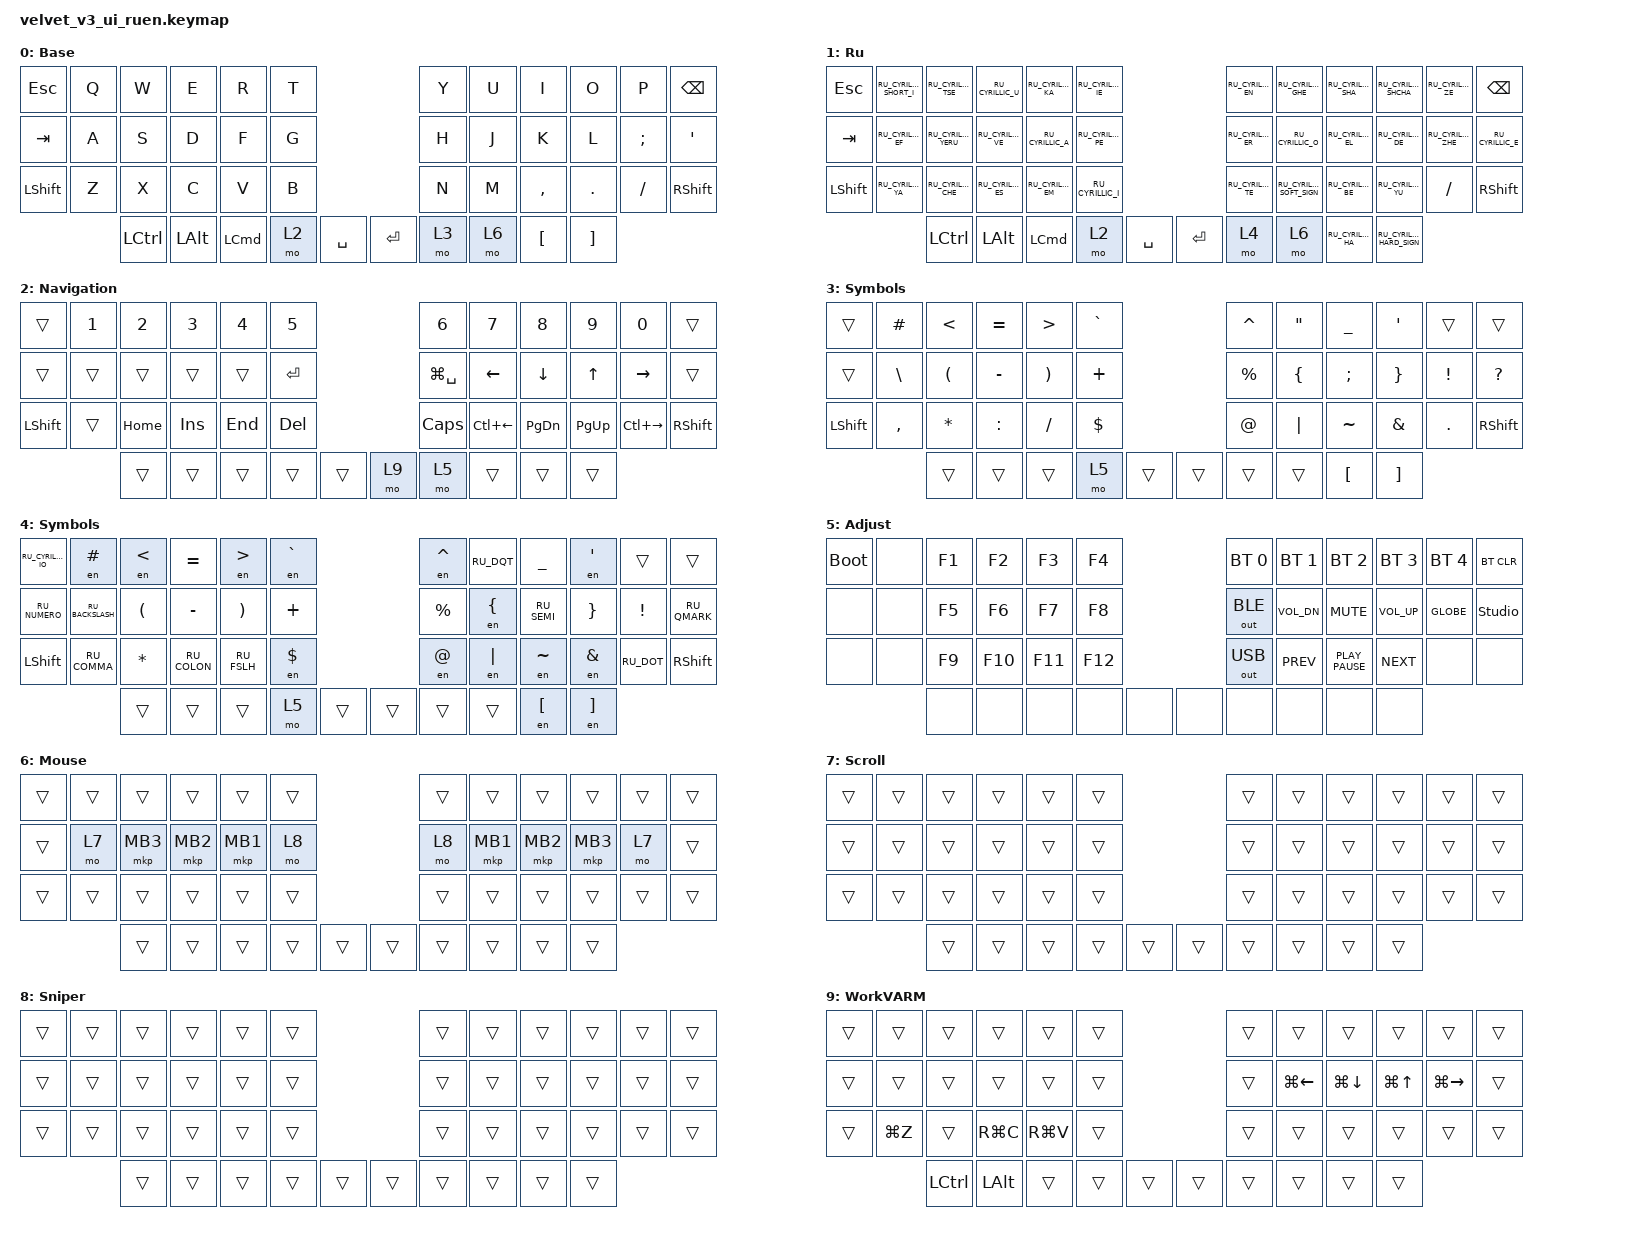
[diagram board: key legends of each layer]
#include "keys_ru.h"
#include <dt-bindings/zmk/input_transform.h>
#include <input/processors.dtsi>
#include <zephyr/dt-bindings/input/input-event-codes.h>
#include <behaviors.dtsi>
#include <dt-bindings/zmk/bt.h>
#include <dt-bindings/zmk/keys.h>
#include <dt-bindings/zmk/outputs.h>
#include <dt-bindings/zmk/pointing.h>

/ {
    behaviors {
        cap_sen: cap_sen {
            compatible = "zmk,behavior-hold-tap";
            label = "CAP_SEN";
            bindings = <&mo>, <&mkp>;

            #binding-cells = <2>;
            tapping-term-ms = <150>;
            hold-while-undecided;
        };
    };

    combos {
        compatible = "zmk,combos";

        cmben {
            bindings = <&layer_en>;
            key-positions = <3 4>;
            layers = <1>;
        };

        cmbru {
            bindings = <&layer_ru>;
            key-positions = <3 4>;
            layers = <0>;
        };
    };

    macros {
        to_ru: to_ru {
            compatible = "zmk,behavior-macro";
            #binding-cells = <0>;
            bindings = <&kp LS(LC(N2))>;
            label = "TO_RU";
            wait-ms = <0>;
            tap-ms = <30>;
        };

        to_en: to_en {
            compatible = "zmk,behavior-macro";
            #binding-cells = <0>;
            bindings = <&kp LS(LC(N1))>;
            label = "TO_EN";
            wait-ms = <0>;
            tap-ms = <30>;
        };

        layer_en: layer_en {
            compatible = "zmk,behavior-macro";
            #binding-cells = <0>;
            bindings = <&to 0 &to_en>;
            label = "LAYER_EN";
            wait-ms = <0>;
            tap-ms = <30>;
        };

        layer_ru: layer_ru {
            compatible = "zmk,behavior-macro";
            #binding-cells = <0>;
            bindings = <&to 1 &to_ru>;
            label = "LAYER_RU";
            tap-ms = <30>;
            wait-ms = <0>;
        };

        en: en {
            compatible = "zmk,behavior-macro-one-param";
            #binding-cells = <1>;
            bindings =
                <&to_en>,
                <&macro_press>,
                <&macro_param_1to1 &kp MACRO_PLACEHOLDER>,
                <&macro_pause_for_release>,
                <&macro_release>,
                <&macro_param_1to1 &kp MACRO_PLACEHOLDER>,
                <&macro_tap>,
                <&to_ru>;

            label = "EN";
            wait-ms = <0>;
            tap-ms = <30>;
        };
    };

    keymap {
        compatible = "zmk,keymap";

        en {
            bindings = <
&kp ESC    &kp Q  &kp W             &kp E     &kp R             &kp T                          &kp Y  &kp U  &kp I      &kp O     &kp P      &kp BSPC
&kp TAB    &kp A  &kp S             &kp D     &kp F             &kp G                          &kp H  &kp J  &kp K      &kp L     &kp SEMI   &kp SQT
&kp LSHFT  &kp Z  &kp X             &kp C     &kp V             &kp B                          &kp N  &kp M  &kp COMMA  &kp DOT   &kp SLASH  &kp RSHFT
                  &kp LEFT_CONTROL  &kp LALT  &kp LEFT_COMMAND  &mo 2  &kp SPACE    &kp ENTER  &mo 3  &mo 6  &kp LBKT   &kp RBKT
            >;

            display-name = "Base";
        };

        ru {
            display-name = "Ru";
            bindings = <
&kp ESC    &kp RU_CYRILLIC_SHORT_I  &kp RU_CYRILLIC_TSE   &kp RU_CYRILLIC_U   &kp RU_CYRILLIC_KA  &kp RU_CYRILLIC_IE                          &kp RU_CYRILLIC_EN  &kp RU_CYRILLIC_GHE        &kp RU_CYRILLIC_SHA  &kp RU_CYRILLIC_SHCHA      &kp RU_CYRILLIC_ZE   &kp BSPC
&kp TAB    &kp RU_CYRILLIC_EF       &kp RU_CYRILLIC_YERU  &kp RU_CYRILLIC_VE  &kp RU_CYRILLIC_A   &kp RU_CYRILLIC_PE                          &kp RU_CYRILLIC_ER  &kp RU_CYRILLIC_O          &kp RU_CYRILLIC_EL   &kp RU_CYRILLIC_DE         &kp RU_CYRILLIC_ZHE  &kp RU_CYRILLIC_E
&kp LSHFT  &kp RU_CYRILLIC_YA       &kp RU_CYRILLIC_CHE   &kp RU_CYRILLIC_ES  &kp RU_CYRILLIC_EM  &kp RU_CYRILLIC_I                           &kp RU_CYRILLIC_TE  &kp RU_CYRILLIC_SOFT_SIGN  &kp RU_CYRILLIC_BE   &kp RU_CYRILLIC_YU         &kp SLASH            &kp RSHFT
                                    &kp LEFT_CONTROL      &kp LALT            &kp LEFT_COMMAND    &mo 2               &kp SPACE    &kp ENTER  &mo 4               &mo 6                      &kp RU_CYRILLIC_HA   &kp RU_CYRILLIC_HARD_SIGN
            >;
        };

        nav {
            bindings = <
&trans     &kp N1  &kp N2    &kp N3   &kp N4   &kp N5                    &kp N6         &kp N7        &kp N8         &kp N9       &kp N0         &trans
&trans     &trans  &trans    &trans   &trans   &kp RET                   &kp LG(SPACE)  &kp LEFT      &kp DOWN       &kp UP       &kp RIGHT      &trans
&kp LSHFT  &trans  &kp HOME  &kp INS  &kp END  &kp DEL                   &kp CLCK       &kp LC(LEFT)  &kp PAGE_DOWN  &kp PAGE_UP  &kp LC(RIGHT)  &kp RSHFT
                   &trans    &trans   &trans   &trans   &trans    &mo 9  &mo 5          &trans        &trans         &trans
            >;

            display-name = "Navigation";
        };

        sym_en {
            bindings = <
&trans     &kp HASH   &kp LT    &kp EQUAL  &kp GT    &kp GRAVE                    &kp CARET  &kp DQT   &kp UNDER  &kp SQT   &trans    &trans
&trans     &kp BSLH   &kp LPAR  &kp MINUS  &kp RPAR  &kp PLUS                     &kp PRCNT  &kp LBRC  &kp SEMI   &kp RBRC  &kp EXCL  &kp QUESTION
&kp LSHFT  &kp COMMA  &kp STAR  &kp COLON  &kp FSLH  &kp DLLR                     &kp AT     &kp PIPE  &kp TILDE  &kp AMPS  &kp DOT   &kp RSHFT
                      &trans    &trans     &trans    &mo 5      &trans    &trans  &trans     &trans    &kp LBKT   &kp RBKT
            >;

            display-name = "Symbols";
        };

        sym_ru {
            display-name = "Symbols";
            bindings = <
&kp RU_CYRILLIC_IO  &en HASH          &en LT    &kp EQUAL     &en GT       &en GRAVE                    &en CARET  &kp RU_DQT  &kp UNDER    &en SQT   &trans      &trans
&kp RU_NUMERO       &kp RU_BACKSLASH  &kp LPAR  &kp MINUS     &kp RPAR     &kp PLUS                     &kp PRCNT  &en LBRC    &kp RU_SEMI  &kp RBRC  &kp EXCL    &kp RU_QMARK
&kp LSHFT           &kp RU_COMMA      &kp STAR  &kp RU_COLON  &kp RU_FSLH  &en DLLR                     &en AT     &en PIPE    &en TILDE    &en AMPS  &kp RU_DOT  &kp RSHFT
                                      &trans    &trans        &trans       &mo 5      &trans    &trans  &trans     &trans      &en LBKT     &en RBKT
            >;
        };

        adj {
            bindings = <
&bootloader  &none  &kp F1  &kp F2   &kp F3   &kp F4                   &bt BT_SEL 0  &bt BT_SEL 1  &bt BT_SEL 2      &bt BT_SEL 3  &bt BT_SEL 4  &bt BT_CLR
&none        &none  &kp F5  &kp F6   &kp F7   &kp F8                   &out OUT_BLE  &kp C_VOL_DN  &kp K_MUTE        &kp C_VOL_UP  &kp GLOBE     &studio_unlock
&none        &none  &kp F9  &kp F10  &kp F11  &kp F12                  &out OUT_USB  &kp K_PREV    &kp K_PLAY_PAUSE  &kp K_NEXT    &none         &none
                    &none   &none    &none    &none    &none    &none  &none         &none         &none             &none
            >;

            display-name = "Adjust";
        };

        mouse {
            bindings = <
&trans  &trans  &trans    &trans    &trans    &trans                    &trans  &trans    &trans    &trans    &trans  &trans
&trans  &mo 7   &mkp MB3  &mkp MB2  &mkp MB1  &mo 8                     &mo 8   &mkp MB1  &mkp MB2  &mkp MB3  &mo 7   &trans
&trans  &trans  &trans    &trans    &trans    &trans                    &trans  &trans    &trans    &trans    &trans  &trans
                &trans    &trans    &trans    &trans  &trans    &trans  &trans  &trans    &trans    &trans
            >;

            display-name = "Mouse";
        };

        scroll {
            bindings = <
&trans  &trans  &trans  &trans  &trans  &trans                    &trans  &trans  &trans  &trans  &trans  &trans
&trans  &trans  &trans  &trans  &trans  &trans                    &trans  &trans  &trans  &trans  &trans  &trans
&trans  &trans  &trans  &trans  &trans  &trans                    &trans  &trans  &trans  &trans  &trans  &trans
                &trans  &trans  &trans  &trans  &trans    &trans  &trans  &trans  &trans  &trans
            >;

            display-name = "Scroll";
        };

        sniper {
            bindings = <
&trans  &trans  &trans  &trans  &trans  &trans                    &trans  &trans  &trans  &trans  &trans  &trans
&trans  &trans  &trans  &trans  &trans  &trans                    &trans  &trans  &trans  &trans  &trans  &trans
&trans  &trans  &trans  &trans  &trans  &trans                    &trans  &trans  &trans  &trans  &trans  &trans
                &trans  &trans  &trans  &trans  &trans    &trans  &trans  &trans  &trans  &trans
            >;

            display-name = "Sniper";
        };

        WorkVARM {
            bindings = <
&trans  &trans     &trans     &trans     &trans     &trans                    &trans  &trans        &trans        &trans      &trans         &trans
&trans  &trans     &trans     &trans     &trans     &trans                    &trans  &kp LG(LEFT)  &kp LG(DOWN)  &kp LG(UP)  &kp LG(RIGHT)  &trans
&trans  &kp LG(Z)  &trans     &kp RG(C)  &kp RG(V)  &trans                    &trans  &trans        &trans        &trans      &trans         &trans
                   &kp LCTRL  &kp LALT   &trans     &trans  &trans    &trans  &trans  &trans        &trans        &trans
            >;
        };
    };
};

&trackball { cpi = <1000>; };

&trackball_listener {
    input-processors = <&zip_xy_scaler 9 20>;

    scroller {
        layers = <7>;
        input-processors =
            <&zip_xy_transform INPUT_TRANSFORM_Y_INVERT>,
            <&zip_xy_scaler 1 32>,
            <&zip_xy_to_scroll_mapper>;
    };

    sniper {
        layers = <8>;
        input-processors = <&zip_xy_scaler 1 4>;
    };
};
